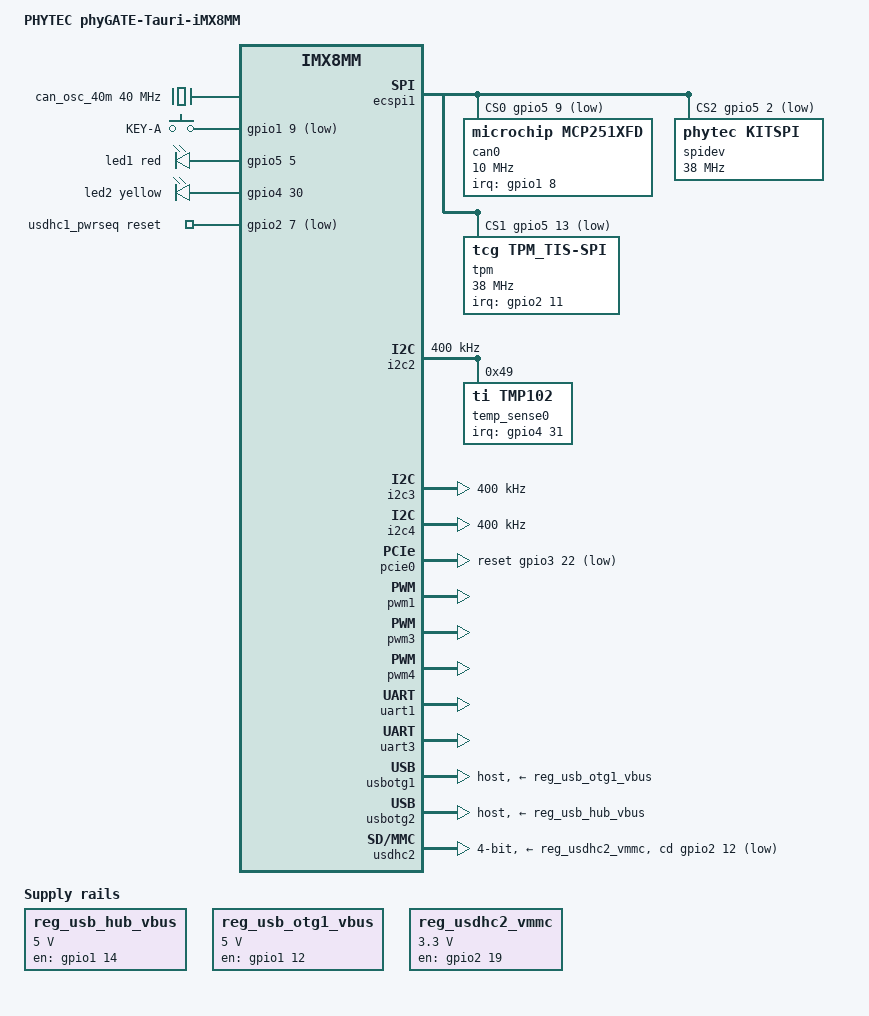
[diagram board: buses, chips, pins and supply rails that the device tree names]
// SPDX-License-Identifier: GPL-2.0
/*
* Copyright (C) 2021 PHYTEC Messtechnik GmbH
* Author: Jens Lang <j.lang@phytec.de>
*/

/dts-v1/;
#include "imx8mm-phycore-som.dtsi"
#include <dt-bindings/leds/common.h>

/ {
	model = "PHYTEC phyGATE-Tauri-iMX8MM";

	chosen {
		stdout-path = &uart3;
	};

	clocks {
		#address-cells = <1>;
		#size-cells = <0>;

		can_osc_40m: can-clock@0 {
			compatible = "fixed-clock";
			clock-frequency = <40000000>;
			clock-output-names = "can_osc_40m";
			reg = <0>;
			#clock-cells = <0>;
		};
	};

	gpio-keys {
		compatible = "gpio-keys";
		pinctrl-names = "default";
		pinctrl-0 = <&pinctrl_gpiokeys>;

		key {
			gpios = <&gpio1 9 GPIO_ACTIVE_LOW>;
			label = "KEY-A";
			linux,code = <30>;
		};
	};

	leds {
		compatible = "gpio-leds";
		pinctrl-names = "default";
		pinctrl-0 = <&pinctrl_leds>;

		led1 {
			color = <LED_COLOR_ID_RED>;
			gpios = <&gpio5 5 GPIO_ACTIVE_HIGH>;
			linux,default-trigger = "off";
		};

		led2 {
			color = <LED_COLOR_ID_YELLOW>;
			gpios = <&gpio4 30 GPIO_ACTIVE_HIGH>;
			linux,default-trigger = "off";
		};
	};

	usdhc1_pwrseq: pwr-seq {
		compatible = "mmc-pwrseq-simple";
		post-power-on-delay-ms = <100>;
		power-off-delay-us = <60>;
		reset-gpios = <&gpio2 7 GPIO_ACTIVE_LOW>;
	};

	reg_usb_hub_vbus: regulator-hub-otg1-vbus {
		compatible = "regulator-fixed";
		gpio = <&gpio1 14 GPIO_ACTIVE_HIGH>;
		enable-active-high;
		pinctrl-names = "default";
		pinctrl-0 = <&pinctrl_usbhubpwr>;
		regulator-name = "usb_hub_vbus";
		regulator-max-microvolt = <5000000>;
		regulator-min-microvolt = <5000000>;
	};

	reg_usb_otg1_vbus: regulator-usb-otg1-vbus {
		compatible = "regulator-fixed";
		gpio = <&gpio1 12 GPIO_ACTIVE_HIGH>;
		enable-active-high;
		pinctrl-names = "default";
		pinctrl-0 = <&pinctrl_usbotg1pwr>;
		regulator-name = "usb_otg1_vbus";
		regulator-max-microvolt = <5000000>;
		regulator-min-microvolt = <5000000>;
	};

	reg_usdhc2_vmmc: regulator-usdhc2 {
		compatible = "regulator-fixed";
		enable-active-high;
		gpio = <&gpio2 19 GPIO_ACTIVE_HIGH>;
		off-on-delay-us = <20000>;
		pinctrl-names = "default";
		pinctrl-0 = <&pinctrl_reg_usdhc2_vmmc>;
		regulator-max-microvolt = <3300000>;
		regulator-min-microvolt = <3300000>;
		regulator-name = "VSD_3V3";
	};
};

/* CAN mcp251xfd */
&ecspi1 {
	cs-gpios = <&gpio5 9 GPIO_ACTIVE_LOW>,
		   <&gpio5 13 GPIO_ACTIVE_LOW>,
		   <&gpio5 2 GPIO_ACTIVE_LOW>;
	num-cs = <3>;
	pinctrl-names = "default";
	pinctrl-0 = <&pinctrl_ecspi1 &pinctrl_ecspi1_cs>;
	#address-cells = <1>;
	#size-cells = <0>;
	status = "okay";

	can0: can@0 {
		compatible = "microchip,mcp251xfd";
		clocks = <&can_osc_40m>;
		interrupts = <8 IRQ_TYPE_LEVEL_LOW>;
		interrupt-parent = <&gpio1>;
		pinctrl-names = "default";
		pinctrl-0 = <&pinctrl_can_int>;
		reg = <0>;
		spi-max-frequency = <10000000>;
	};

	spidev: spi@2 {
		compatible = "phytec,kitspi";
		reg = <2>;
		spi-max-frequency = <38000000>;
	};

	tpm: tpm-tis@1 {
		compatible = "tcg,tpm_tis-spi";
		interrupts = <11 IRQ_TYPE_LEVEL_LOW>;
		interrupt-parent = <&gpio2>;
		pinctrl-names = "default";
		pinctrl-0 = <&pinctrl_tpm>;
		reg = <1>;
		spi-max-frequency = <38000000>;
	};
};

&i2c2 {
	clock-frequency = <400000>;
	pinctrl-names = "default";
	pinctrl-0 = <&pinctrl_i2c2>;
	status = "okay";

	temp_sense0: temp@49 {
		compatible = "ti,tmp102";
		interrupts = <31 IRQ_TYPE_LEVEL_LOW>;
		interrupt-parent = <&gpio4>;
		pinctrl-names = "default";
		pinctrl-0 = <&pinctrl_tempsense>;
		reg = <0x49>;
		#thermal-sensor-cells = <1>;
	};
};

&i2c3 {
	clock-frequency = <400000>;
	pinctrl-names = "default";
	pinctrl-0 = <&pinctrl_i2c3>;
	status = "okay";
};

&i2c4 {
	clock-frequency = <400000>;
	pinctrl-names = "default";
	pinctrl-0 = <&pinctrl_i2c4>;
	status = "okay";
};

/* PCIe */
&pcie0 {
	assigned-clocks = <&clk IMX8MM_CLK_PCIE1_AUX>,
			  <&clk IMX8MM_CLK_PCIE1_PHY>,
			  <&clk IMX8MM_CLK_PCIE1_CTRL>;
	assigned-clock-parents = <&clk IMX8MM_SYS_PLL2_50M>,
				 <&clk IMX8MM_SYS_PLL2_100M>,
				 <&clk IMX8MM_SYS_PLL2_250M>;
	assigned-clock-rates = <10000000>, <100000000>, <250000000>;
	clocks = <&clk IMX8MM_CLK_PCIE1_ROOT>,
		<&clk IMX8MM_CLK_PCIE1_AUX>,
		<&clk IMX8MM_CLK_PCIE1_PHY>,
		<&clk IMX8MM_CLK_DUMMY>;
	clock-names = "pcie", "pcie_aux", "pcie_phy", "pcie_bus";
	pinctrl-names = "default";
	pinctrl-0 = <&pinctrl_pcie>;
	reset-gpio = <&gpio3 22 GPIO_ACTIVE_LOW>;
	status = "okay";
};

&pwm1 {
	pinctrl-names = "default";
	pinctrl-0 = <&pinctrl_pwm1>;
	status = "okay";
};

&pwm3 {
	pinctrl-names = "default";
	pinctrl-0 = <&pinctrl_pwm3>;
	status = "okay";
};

&pwm4 {
	pinctrl-names = "default";
	pinctrl-0 = <&pinctrl_pwm4>;
	status = "okay";
};

/* RTC */
&rv3028 {
	enable-level-switching-mode;
	interrupt-parent = <&gpio1>;
	interrupts = <3 IRQ_TYPE_LEVEL_LOW>;
	pinctrl-0 = <&pinctrl_rtc>;
	pinctrl-names = "default";
	trickle-resistor-ohms = <3000>;
	wakeup-source;
};

&uart1 {
	assigned-clocks = <&clk IMX8MM_CLK_UART1>;
	assigned-clock-parents = <&clk IMX8MM_SYS_PLL1_80M>;
	pinctrl-names = "default";
	pinctrl-0 = <&pinctrl_uart1>;
	status = "okay";
};

/* UART console */
&uart3 {
	pinctrl-names = "default";
	pinctrl-0 = <&pinctrl_uart3>;
	status = "okay";
};

&{/soc@0/bus@32c00000/display-subsystem} {
	status = "disabled";
};

/* USB */
&usbotg1 {
	dr_mode = "host";
	over-current-active-low;
	picophy,pre-emp-curr-control = <3>;
	picophy,dc-vol-level-adjust = <7>;
	pinctrl-names = "default";
	pinctrl-0 = <&pinctrl_usbotg1>;
	vbus-supply = <&reg_usb_otg1_vbus>;
	status = "okay";
};

&usbotg2 {
	disable-over-current;
	dr_mode = "host";
	picophy,dc-vol-level-adjust = <7>;
	picophy,pre-emp-curr-control = <3>;
	vbus-supply = <&reg_usb_hub_vbus>;
	status = "okay";
};

&usbphynop1 {
	vcc-supply = <&reg_vdd_3v3_s>;
};

&usbphynop2 {
	vcc-supply = <&reg_vdd_3v3_s>;
};

/* SD-Card */
&usdhc2 {
	assigned-clocks = <&clk IMX8MM_CLK_USDHC2>;
	assigned-clock-rates = <200000000>;
	bus-width = <4>;
	cd-gpios = <&gpio2 12 GPIO_ACTIVE_LOW>;
	disable-wp;
	pinctrl-0 = <&pinctrl_usdhc2>, <&pinctrl_usdhc2_gpio>;
	pinctrl-1 = <&pinctrl_usdhc2_100mhz>, <&pinctrl_usdhc2_gpio>;
	pinctrl-2 = <&pinctrl_usdhc2_200mhz>, <&pinctrl_usdhc2_gpio>;
	pinctrl-names = "default", "state_100mhz", "state_200mhz";
	vmmc-supply = <&reg_usdhc2_vmmc>;
	vqmmc-supply = <&reg_nvcc_sd2>;
	status = "okay";
};

&iomuxc {
	pinctrl_can_int: can-intgrp {
		fsl,pins = <
			MX8MM_IOMUXC_GPIO1_IO08_GPIO1_IO8	0x00
		>;
	};

	pinctrl_ecspi1: ecspi1grp {
		fsl,pins = <
			MX8MM_IOMUXC_ECSPI1_MISO_ECSPI1_MISO	0x82
			MX8MM_IOMUXC_ECSPI1_MOSI_ECSPI1_MOSI	0x82
			MX8MM_IOMUXC_ECSPI1_SCLK_ECSPI1_SCLK	0x82
		>;
	};

	pinctrl_ecspi1_cs: ecspi1csgrp {
		fsl,pins = <
			MX8MM_IOMUXC_ECSPI1_SS0_GPIO5_IO9	0x00
			MX8MM_IOMUXC_ECSPI2_SS0_GPIO5_IO13	0x00
			MX8MM_IOMUXC_SAI3_MCLK_GPIO5_IO2	0x00
		>;
	};

	pinctrl_gpiokeys: keygrp {
		fsl,pins = <
			MX8MM_IOMUXC_GPIO1_IO09_GPIO1_IO9	0x00
		>;
	};

	pinctrl_i2c2: i2c2grp {
		fsl,pins = <
			MX8MM_IOMUXC_I2C2_SCL_I2C2_SCL	0x400001c2
			MX8MM_IOMUXC_I2C2_SDA_I2C2_SDA	0x400001c2
		>;
	};

	pinctrl_i2c3: i2c3grp {
		fsl,pins = <
			MX8MM_IOMUXC_I2C3_SCL_I2C3_SCL	0x400001c2
			MX8MM_IOMUXC_I2C3_SDA_I2C3_SDA	0x400001c2
		>;
	};

	pinctrl_i2c4: i2c4grp {
		fsl,pins = <
			MX8MM_IOMUXC_I2C4_SCL_I2C4_SCL	0x400001c2
			MX8MM_IOMUXC_I2C4_SDA_I2C4_SDA	0x400001c2
		>;
	};

	pinctrl_leds: leds1grp {
		fsl,pins = <
			MX8MM_IOMUXC_SAI3_RXD_GPIO4_IO30	0x00
			MX8MM_IOMUXC_SPDIF_EXT_CLK_GPIO5_IO5	0x00
		>;
	};

	pinctrl_pcie: pciegrp {
		fsl,pins = <
			/* COEX2 */
			MX8MM_IOMUXC_SAI5_RXD1_GPIO3_IO22	0x00
			/* COEX1 */
			MX8MM_IOMUXC_SAI1_TXD0_GPIO4_IO12	0x12
		>;
	};

	pinctrl_pwm1: pwm1grp {
		fsl,pins = <
			MX8MM_IOMUXC_GPIO1_IO01_PWM1_OUT	0x40
		>;
	};

	pinctrl_pwm3: pwm3grp {
		fsl,pins = <
			MX8MM_IOMUXC_SPDIF_TX_PWM3_OUT		0x40
		>;
	};

	pinctrl_pwm4: pwm4grp {
		fsl,pins = <
			MX8MM_IOMUXC_GPIO1_IO15_PWM4_OUT	0x40
		>;
	};

	pinctrl_reg_usdhc2_vmmc: regusdhc2vmmcgrp {
		fsl,pins = <
			MX8MM_IOMUXC_SD2_RESET_B_GPIO2_IO19     0x41
		>;
	};

	pinctrl_tempsense: tempsensegrp {
		fsl,pins = <
			MX8MM_IOMUXC_SAI3_TXFS_GPIO4_IO31	0x00
		>;
	};

	pinctrl_tpm: tpmgrp {
		fsl,pins = <
			MX8MM_IOMUXC_SD1_STROBE_GPIO2_IO11	0x140
		>;
	};

	pinctrl_uart1: uart1grp {
		fsl,pins = <
			MX8MM_IOMUXC_UART1_TXD_UART1_DCE_TX	0x00
			MX8MM_IOMUXC_UART1_RXD_UART1_DCE_RX	0x00
		>;
	};

	pinctrl_uart3: uart3grp {
		fsl,pins = <
			MX8MM_IOMUXC_UART3_RXD_UART3_DCE_RX	0x140
			MX8MM_IOMUXC_UART3_TXD_UART3_DCE_TX	0x140
		>;
	};

	pinctrl_usbhubpwr: usbhubpwrgrp {
		fsl,pins = <
			MX8MM_IOMUXC_GPIO1_IO14_GPIO1_IO14	0x00
		>;
	};

	pinctrl_usbotg1pwr: usbotg1pwrgrp {
		fsl,pins = <
			MX8MM_IOMUXC_GPIO1_IO12_GPIO1_IO12	0x00
		>;
	};

	pinctrl_usbotg1: usbotg1grp {
		fsl,pins = <
			MX8MM_IOMUXC_GPIO1_IO13_USB1_OTG_OC	0x80
		>;
	};

	pinctrl_usdhc1: usdhc1grp {
		fsl,pins = <
			MX8MM_IOMUXC_SD1_CLK_USDHC1_CLK		0x182
			MX8MM_IOMUXC_SD1_CMD_USDHC1_CMD		0xc6
			MX8MM_IOMUXC_SD1_DATA0_USDHC1_DATA0	0xc6
			MX8MM_IOMUXC_SD1_DATA1_USDHC1_DATA1	0xc6
			MX8MM_IOMUXC_SD1_DATA2_USDHC1_DATA2	0xc6
			MX8MM_IOMUXC_SD1_DATA3_USDHC1_DATA3	0xc6
		>;
	};

	pinctrl_usdhc2_gpio: usdhc2gpiogrp {
		fsl,pins = <
			MX8MM_IOMUXC_SD2_CD_B_GPIO2_IO12	0x40
		>;
	};

	pinctrl_usdhc2: usdhc2grp {
		fsl,pins = <
			MX8MM_IOMUXC_GPIO1_IO04_USDHC2_VSELECT	0x1d0
			MX8MM_IOMUXC_SD2_CLK_USDHC2_CLK		0x192
			MX8MM_IOMUXC_SD2_CMD_USDHC2_CMD		0x1d2
			MX8MM_IOMUXC_SD2_DATA0_USDHC2_DATA0	0x1d2
			MX8MM_IOMUXC_SD2_DATA1_USDHC2_DATA1	0x1d2
			MX8MM_IOMUXC_SD2_DATA2_USDHC2_DATA2	0x1d2
			MX8MM_IOMUXC_SD2_DATA3_USDHC2_DATA3	0x1d2
		>;
	};

	pinctrl_usdhc2_100mhz: usdhc2100mhzgrp {
		fsl,pins = <
			MX8MM_IOMUXC_GPIO1_IO04_USDHC2_VSELECT	0x1d0
			MX8MM_IOMUXC_SD2_CLK_USDHC2_CLK		0x194
			MX8MM_IOMUXC_SD2_CMD_USDHC2_CMD		0x1d4
			MX8MM_IOMUXC_SD2_DATA0_USDHC2_DATA0	0x1d4
			MX8MM_IOMUXC_SD2_DATA1_USDHC2_DATA1	0x1d4
			MX8MM_IOMUXC_SD2_DATA2_USDHC2_DATA2	0x1d4
			MX8MM_IOMUXC_SD2_DATA3_USDHC2_DATA3	0x1d4
		>;
	};

	pinctrl_usdhc2_200mhz: usdhc2200mhzgrp {
		fsl,pins = <
			MX8MM_IOMUXC_GPIO1_IO04_USDHC2_VSELECT	0x1d0
			MX8MM_IOMUXC_SD2_CLK_USDHC2_CLK		0x196
			MX8MM_IOMUXC_SD2_CMD_USDHC2_CMD		0x1d6
			MX8MM_IOMUXC_SD2_DATA0_USDHC2_DATA0	0x1d6
			MX8MM_IOMUXC_SD2_DATA1_USDHC2_DATA1	0x1d6
			MX8MM_IOMUXC_SD2_DATA2_USDHC2_DATA2	0x1d6
			MX8MM_IOMUXC_SD2_DATA3_USDHC2_DATA3	0x1d6
		>;
	};
};
